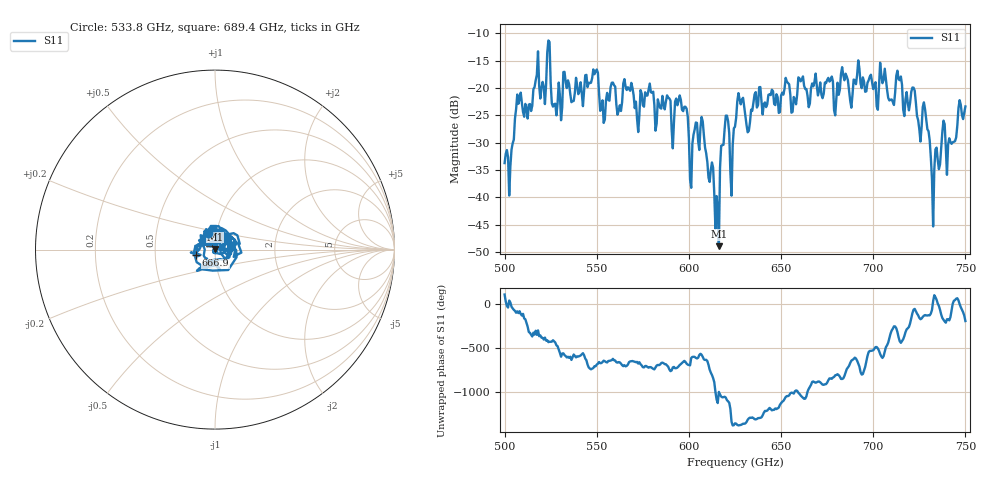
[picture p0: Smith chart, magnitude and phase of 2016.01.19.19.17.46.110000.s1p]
!Created with skrf (http://scikit-rf.org).
# GHz S RI R 50.0
!freq ReS11 ImS11
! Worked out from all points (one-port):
!   401 points, 500 GHz to 750 GHz, reference 50 ohm
!   lowest |S11| = -49.0 dB at 616.2 GHz (marker M1), VSWR 1.01, Z = 50 + j0.355 ohm
!   |S11| at or under -10 dB: start of sweep to end of sweep
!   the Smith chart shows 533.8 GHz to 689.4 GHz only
!   S11 on the Smith chart (normalised r, x): 533.8 GHz: 0.91, +0.17; 666.9 GHz: 0.81, -0.05; 689.4 GHz: 0.95, +0.23
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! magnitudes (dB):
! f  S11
! 500 GHz  -33.7
! 503.8 GHz  -31.3
! 507.5 GHz  -22.9
! 513.8 GHz  -22.9
! 523.8 GHz  -11.3
! 526.9 GHz  -22.9
! 531.2 GHz  -23.5
! 533.8 GHz  -20.0
! 549.4 GHz  -17.0
! 553.1 GHz  -22.2
! 558.8 GHz  -19.0
! 562.5 GHz  -23.2
! 593.8 GHz  -23.1
! 601.2 GHz  -38.3
! 607.5 GHz  -26.1
! 615 GHz  -39.8
! 616.2 GHz  -49.0
! 619.4 GHz  -27.5
! 623.1 GHz  -39.7
! 625 GHz  -27.1
! 656.2 GHz  -24.4
! 666.9 GHz  -19.2
! 687.5 GHz  -22.3
! 689.4 GHz  -18.5
! 718.8 GHz  -22.8
! 728.1 GHz  -23.9
! 732.5 GHz  -45.3
! 750 GHz  -23.4
